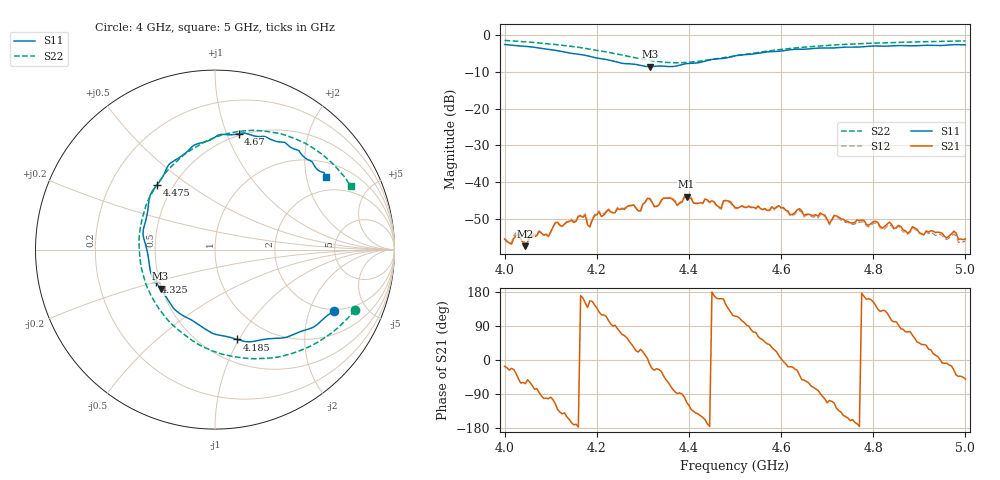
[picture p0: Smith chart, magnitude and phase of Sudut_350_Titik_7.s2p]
# Hz S RI R 50
! CMT, C1220, 16058040, 17.2.0/1
! Date: 15/08/2018 12:06:25
! Data: Format (Calibration Info)
! Freq  S11: Re/Im (F2)  S21: Re/Im (F2)  S12: Re/Im (F2)  S22: Re/Im (F2)
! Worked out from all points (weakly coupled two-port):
!   201 points, 4 GHz to 5 GHz, reference 50 ohm
!   highest |S21| = -43.93 dB at 4.395 GHz (marker M1); lowest = -57.4 dB at 4.045 GHz (marker M2)
!   lowest |S11| = -8.6 dB at 4.315 GHz (marker M3), VSWR 2.19, Z = 24.7 - j12.5 ohm
!   |S11| at or under -10 dB: nowhere
!   |S22| runs from -7.5 to -1.4 dB; largest |S21 - S12| = 0.0003
!   S11 on the Smith chart (normalised r, x): 4 GHz: 1.94, -2.99; 4.185 GHz: 0.72, -0.98; 4.325 GHz: 0.48, -0.20; 4.475 GHz: 0.41, +0.39; 4.67 GHz: 0.48, +1.10; 5 GHz: 1.46, +2.61
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4e9  0.6654 -0.34  0.00161 -0.000485  0.00167 -0.000427  0.778 -0.337
4.015e9  0.6378 -0.359  0.00133 -0.000542  0.00144 -0.000426  0.7507 -0.3705
4.03e9  0.604 -0.3858  0.00127 -0.0015  0.00141 -0.00151  0.72 -0.4018
4.045e9  0.5699 -0.4172  0.000623 -0.00119  0.000716 -0.00127  0.687 -0.4336
4.075e9  0.4944 -0.4508  0.00016 -0.00212  0.000151 -0.00218  0.6108 -0.4907
4.095e9  0.4301 -0.476  -0.000384 -0.00178  -0.000407 -0.0018  0.5557 -0.5256
4.11e9  0.3825 -0.4915  -0.00122 -0.00254  -0.00113 -0.00252  0.5067 -0.5494
4.17e9  0.1704 -0.5125  -0.0032 0.000942  -0.00336 0.000795  0.2842 -0.6053
4.185e9  0.122 -0.5003  -0.00224 0.000995  -0.00238 0.000971  0.2219 -0.6083
4.205e9  0.0462 -0.4809  -0.00237 0.00315  -0.00252 0.00318  0.1348 -0.6006
4.295e9  -0.2523 -0.2955  0.00358 0.00191  0.00355 0.00188  -0.2463 -0.4108
4.315e9  -0.3032 -0.2175  0.00584 -0.00121  0.00594 -0.00119  -0.3104 -0.3325
4.325e9  -0.3306 -0.1818  0.00414 -0.00209  0.00419 -0.00207  -0.3378 -0.2889
4.335e9  -0.3503 -0.148  0.00441 -0.00211  0.00445 -0.00216  -0.3629 -0.2428
4.395e9  -0.4011 0.0875  -0.00236 -0.00591  -0.00257 -0.00596  -0.4233 0.0534
4.47e9  -0.3338 0.3459  -0.0042 0.00138  -0.00404 0.00139  -0.3155 0.373
4.475e9  -0.3211 0.362  -0.00529 0.00182  -0.00514 0.00188  -0.3041 0.3891
4.5e9  -0.2716 0.4471  -0.00197 0.00408  -0.00197 0.00393  -0.2417 0.4649
4.67e9  0.1319 0.6455  0.00108 -0.00333  0.00101 -0.00317  0.2339 0.6634
4.835e9  0.4347 0.563  -0.00119 0.0026  -0.00116 0.00236  0.5704 0.5496
4.875e9  0.4793 0.5342  0.000551 0.00193  0.000471 0.00191  0.626 0.5056
5e9  0.6174 0.4059  0.00108 -0.0013  0.00109 -0.00116  0.7561 0.3547
